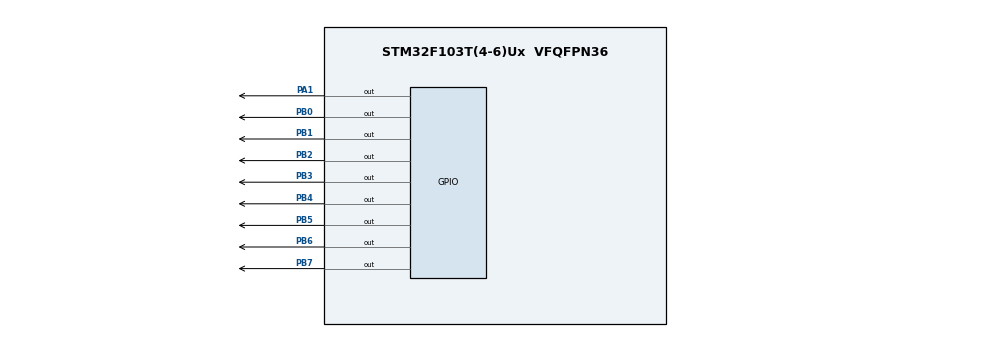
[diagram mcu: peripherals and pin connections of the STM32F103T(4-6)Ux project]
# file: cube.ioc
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Mcu.Family=STM32F1
Mcu.Name=STM32F103T(4-6)Ux
Mcu.Package=VFQFPN36
NVIC.PriorityGroup=NVIC_PRIORITYGROUP_4
NVIC.TIM1_UP_IRQn=true\:0\:0\:false\:false\:true\:true\:true
PA1.Signal=GPIO_Output
PA13.Mode=Serial_Wire
PA13.Signal=SYS_JTMS-SWDIO
PA14.Mode=Serial_Wire
PA14.Signal=SYS_JTCK-SWCLK
PB0.Signal=GPIO_Output
PB1.Signal=GPIO_Output
PB2.Signal=GPIO_Output
PB3.Signal=GPIO_Output
PB4.Signal=GPIO_Output
PB5.Signal=GPIO_Output
PB6.Signal=GPIO_Output
PB7.Signal=GPIO_Output
PD0-OSC_IN.Mode=HSE-External-Oscillator
PD0-OSC_IN.Signal=RCC_OSC_IN
PD1-OSC_OUT.Mode=HSE-External-Oscillator
PD1-OSC_OUT.Signal=RCC_OSC_OUT
ProjectManager.HeapSize=0x200
ProjectManager.StackSize=0x400
ProjectManager.TargetToolchain=MDK-ARM V5
RCC.APB1Freq_Value=8000000
RCC.APB2Freq_Value=8000000
TIM1.Period=100
TIM1.Prescaler=7999
VP_TIM1_VS_ClockSourceINT.Mode=Internal
board=custom

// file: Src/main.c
/* USER CODE BEGIN Header */
/**
  ******************************************************************************
  * @file           : main.c
  * @brief          : Main program body
  ******************************************************************************
  * @attention
  *
  * <h2><center>&copy; Copyright (c) 2019 STMicroelectronics.
  * All rights reserved.</center></h2>
  *
  * This software component is licensed by ST under BSD 3-Clause license,
  * the "License"; You may not use this file except in compliance with the
  * License. You may obtain a copy of the License at:
  *                        opensource.org/licenses/BSD-3-Clause
  *
  ******************************************************************************
  */
/* USER CODE END Header */

#include "main.h"
#include "stdbool.h"

TIM_HandleTypeDef htim1;

/* USER CODE BEGIN PV */
int leds[8] = {1, 2, 4, 8, 16, 32, 64, 128};
int i = 0, direction = 1;
/* USER CODE END PV */

void SystemClock_Config(void);
static void MX_GPIO_Init(void);
static void MX_TIM1_Init(void);

/* USER CODE BEGIN 0 */
void EXTI1_IRQHandler(void)
{
		if (HAL_GPIO_ReadPin(GPIOA, GPIO_PIN_1) == GPIO_PIN_SET)
		{
			HAL_TIM_Base_Start(&htim1);
		}
		else
		{
			HAL_TIM_Base_Stop(&htim1);
		}
}

void HAL_TIM_PeriodElapsedCallback(TIM_HandleTypeDef *htim)
{
    if(htim->Instance == TIM1)
		{
			GPIOB->ODR = leds[i] + leds[i + 1];
			i = i + direction;
			if (i == 6)
			{
				direction = -1;
			}
			if (i == 0)
			{
				direction = 1;
			}
		}
}
/* USER CODE END 0 */

int main(void)
{

  /* MCU Configuration--------------------------------------------------------*/

  /* Reset of all peripherals, Initializes the Flash interface and the Systick. */
  HAL_Init();

  /* Configure the system clock */
  SystemClock_Config();

  /* Initialize all configured peripherals */
  MX_GPIO_Init();
  MX_TIM1_Init();
  /* USER CODE BEGIN 2 */
  HAL_TIM_Base_Start_IT(&htim1);
	HAL_TIM_Base_Stop(&htim1);

	RCC->APB2ENR |= RCC_APB2ENR_IOPAEN;
  RCC->APB2ENR |= RCC_APB2ENR_AFIOEN;

  AFIO->EXTICR[0] |= AFIO_EXTICR1_EXTI1_PA;

	EXTI->RTSR |= EXTI_RTSR_TR1;
	EXTI->FTSR |= EXTI_FTSR_TR1;

	EXTI->PR |= EXTI_PR_PR1;
	EXTI->IMR |= EXTI_IMR_MR1;
	NVIC_EnableIRQ(EXTI1_IRQn);

	NVIC_SetPriority(SysTick_IRQn, 0);
	NVIC_SetPriority(EXTI1_IRQn, 1);
  /* USER CODE END 2 */

  /* Infinite loop */
  while (1)
  {

  }
}

void SystemClock_Config(void)
{
  RCC_OscInitTypeDef RCC_OscInitStruct = {0};
  RCC_ClkInitTypeDef RCC_ClkInitStruct = {0};

  /** Initializes the CPU, AHB and APB busses clocks
  */
  RCC_OscInitStruct.OscillatorType = RCC_OSCILLATORTYPE_HSI;
  RCC_OscInitStruct.HSIState = RCC_HSI_ON;
  RCC_OscInitStruct.HSICalibrationValue = RCC_HSICALIBRATION_DEFAULT;
  RCC_OscInitStruct.PLL.PLLState = RCC_PLL_NONE;
  if (HAL_RCC_OscConfig(&RCC_OscInitStruct) != HAL_OK)
  {
    Error_Handler();
  }
  /** Initializes the CPU, AHB and APB busses clocks
  */
  RCC_ClkInitStruct.ClockType = RCC_CLOCKTYPE_HCLK|RCC_CLOCKTYPE_SYSCLK
                              |RCC_CLOCKTYPE_PCLK1|RCC_CLOCKTYPE_PCLK2;
  RCC_ClkInitStruct.SYSCLKSource = RCC_SYSCLKSOURCE_HSI;
  RCC_ClkInitStruct.AHBCLKDivider = RCC_SYSCLK_DIV1;
  RCC_ClkInitStruct.APB1CLKDivider = RCC_HCLK_DIV1;
  RCC_ClkInitStruct.APB2CLKDivider = RCC_HCLK_DIV1;

  if (HAL_RCC_ClockConfig(&RCC_ClkInitStruct, FLASH_LATENCY_0) != HAL_OK)
  {
    Error_Handler();
  }
}

static void MX_TIM1_Init(void)
{

  TIM_ClockConfigTypeDef sClockSourceConfig = {0};
  TIM_MasterConfigTypeDef sMasterConfig = {0};

  htim1.Instance = TIM1;
  htim1.Init.Prescaler = 7999;
  htim1.Init.CounterMode = TIM_COUNTERMODE_UP;
  htim1.Init.Period = 100;
  htim1.Init.ClockDivision = TIM_CLOCKDIVISION_DIV1;
  htim1.Init.RepetitionCounter = 0;
  htim1.Init.AutoReloadPreload = TIM_AUTORELOAD_PRELOAD_DISABLE;
  if (HAL_TIM_Base_Init(&htim1) != HAL_OK)
  {
    Error_Handler();
  }
  sClockSourceConfig.ClockSource = TIM_CLOCKSOURCE_INTERNAL;
  if (HAL_TIM_ConfigClockSource(&htim1, &sClockSourceConfig) != HAL_OK)
  {
    Error_Handler();
  }
  sMasterConfig.MasterOutputTrigger = TIM_TRGO_RESET;
  sMasterConfig.MasterSlaveMode = TIM_MASTERSLAVEMODE_DISABLE;
  if (HAL_TIMEx_MasterConfigSynchronization(&htim1, &sMasterConfig) != HAL_OK)
  {
    Error_Handler();
  }

}

static void MX_GPIO_Init(void)
{
  GPIO_InitTypeDef GPIO_InitStruct = {0};

  /* GPIO Ports Clock Enable */
  __HAL_RCC_GPIOD_CLK_ENABLE();
  __HAL_RCC_GPIOA_CLK_ENABLE();
  __HAL_RCC_GPIOB_CLK_ENABLE();

  /*Configure GPIO pin Output Level */
  HAL_GPIO_WritePin(GPIOA, GPIO_PIN_1, GPIO_PIN_RESET);

  /*Configure GPIO pin Output Level */
  HAL_GPIO_WritePin(GPIOB, GPIO_PIN_0|GPIO_PIN_1|GPIO_PIN_2|GPIO_PIN_3
                          |GPIO_PIN_4|GPIO_PIN_5|GPIO_PIN_6|GPIO_PIN_7, GPIO_PIN_RESET);

  /*Configure GPIO pin : PA1 */
  GPIO_InitStruct.Pin = GPIO_PIN_1;
  GPIO_InitStruct.Mode = GPIO_MODE_OUTPUT_PP;
  GPIO_InitStruct.Pull = GPIO_NOPULL;
  GPIO_InitStruct.Speed = GPIO_SPEED_FREQ_LOW;
  HAL_GPIO_Init(GPIOA, &GPIO_InitStruct);

  /*Configure GPIO pins : PB0 PB1 PB2 PB3
                           PB4 PB5 PB6 PB7 */
  GPIO_InitStruct.Pin = GPIO_PIN_0|GPIO_PIN_1|GPIO_PIN_2|GPIO_PIN_3
                          |GPIO_PIN_4|GPIO_PIN_5|GPIO_PIN_6|GPIO_PIN_7;
  GPIO_InitStruct.Mode = GPIO_MODE_OUTPUT_PP;
  GPIO_InitStruct.Pull = GPIO_NOPULL;
  GPIO_InitStruct.Speed = GPIO_SPEED_FREQ_LOW;
  HAL_GPIO_Init(GPIOB, &GPIO_InitStruct);

}

void Error_Handler(void)
{
}

/************************ (C) COPYRIGHT STMicroelectronics *****END OF FILE****/
